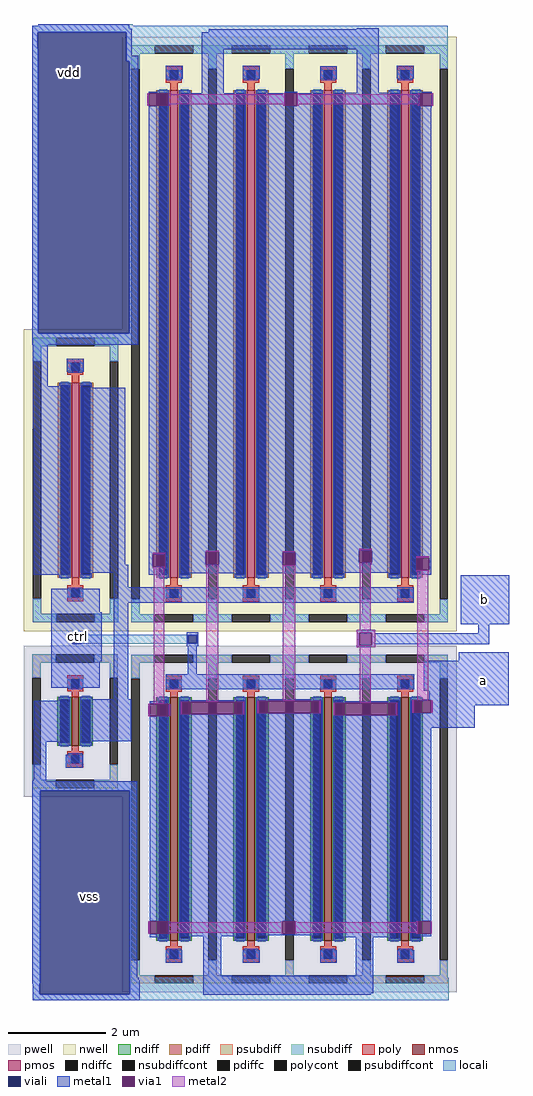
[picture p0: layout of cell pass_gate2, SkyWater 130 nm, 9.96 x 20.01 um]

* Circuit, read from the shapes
.subckt pass_gate2 vdd ctrl a b vss
XM1 n1 ctrl vss vss sky130_fd_pr__nfet_01v8 w=1 l=0.15
XM2 b ctrl a vss sky130_fd_pr__nfet_01v8 w=5 l=0.15 m=4
XM3 n1 ctrl vdd vdd sky130_fd_pr__pfet_01v8 w=4 l=0.15
XM4 b n1 a vdd sky130_fd_pr__pfet_01v8 w=10 l=0.15 m=4
.ends

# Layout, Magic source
magic
tech sky130A
magscale 1 2
<< locali >>
rect 2254 283 2643 290
rect 2229 256 3934 283
rect 2229 189 2253 256
rect 2229 175 2254 189
rect 2230 -979 2254 175
rect 2615 175 3934 256
rect 2615 137 2664 175
rect 2627 -979 2664 137
rect 2230 -1025 2664 -979
rect 2430 -2216 2906 -2214
rect 2430 -2250 2870 -2216
rect 2904 -2250 2906 -2216
rect 2430 -2251 2906 -2250
rect 2231 -2854 2661 -2815
rect 2231 -3643 2262 -2854
rect 2629 -3621 2661 -2854
rect 2231 -3645 2261 -3643
rect 2233 -3689 2261 -3645
rect 2629 -3689 3937 -3621
rect 2233 -3712 3937 -3689
<< viali >>
rect 2253 189 2615 256
rect 2254 137 2615 189
rect 2254 -979 2627 137
rect 2393 -2251 2430 -2214
rect 2870 -2250 2904 -2216
rect 2262 -3643 2629 -2854
rect 2261 -3689 2629 -3643
<< metal1 >>
rect 2254 283 2627 290
rect 2229 271 2627 283
rect 2229 256 2637 271
rect 3561 269 3650 272
rect 2953 257 3650 269
rect 2229 189 2253 256
rect 2229 175 2254 189
rect 2230 -979 2254 175
rect 2615 160 2637 256
rect 2926 186 3650 257
rect 2615 137 2664 160
rect 2627 -979 2664 137
rect 2778 66 2847 118
rect 2230 -1025 2664 -979
rect 2707 7 2790 13
rect 2926 7 3015 186
rect 3094 66 3163 118
rect 3410 64 3479 116
rect 3265 7 3317 13
rect 3561 9 3650 186
rect 3725 67 3794 119
rect 2707 -51 2790 -45
rect 2233 -1195 2294 -1025
rect 2372 -1135 2441 -1083
rect 2233 -1367 2377 -1195
rect 2237 -1968 2377 -1367
rect 2440 -1927 2611 -1202
rect 2707 -1884 2786 -51
rect 2440 -1961 2623 -1927
rect 2565 -2019 2623 -1961
rect 2707 -1936 2724 -1884
rect 2776 -1936 2786 -1884
rect 2707 -1968 2786 -1936
rect 2840 -1875 3094 7
rect 2840 -1927 2942 -1875
rect 2994 -1927 3094 -1875
rect 2840 -1963 3094 -1927
rect 3159 -45 3265 7
rect 3317 -45 3413 7
rect 3159 -1877 3413 -45
rect 3159 -1929 3257 -1877
rect 3309 -1929 3413 -1877
rect 3159 -1963 3413 -1929
rect 3475 -1868 3729 9
rect 3817 7 3869 13
rect 3475 -1920 3570 -1868
rect 3622 -1920 3729 -1868
rect 3475 -1961 3729 -1920
rect 3788 -45 3817 7
rect 3788 -51 3869 -45
rect 3788 -1898 3867 -51
rect 3788 -1950 3805 -1898
rect 3857 -1950 3867 -1898
rect 3788 -1968 3867 -1950
rect 2307 -2123 2507 -2025
rect 2565 -2084 3795 -2019
rect 2307 -2214 2515 -2123
rect 2307 -2251 2393 -2214
rect 2430 -2251 2515 -2214
rect 2307 -2323 2515 -2251
rect 2307 -2432 2507 -2323
rect 2565 -2479 2623 -2084
rect 3986 -2171 4186 -1971
rect 2864 -2216 2910 -2204
rect 2864 -2250 2870 -2216
rect 2904 -2250 2910 -2216
rect 2864 -2262 2910 -2250
rect 3560 -2206 3636 -2194
rect 3560 -2258 3570 -2206
rect 3622 -2209 3636 -2206
rect 4058 -2209 4103 -2171
rect 3622 -2254 4103 -2209
rect 3622 -2258 3636 -2254
rect 2868 -2377 2905 -2262
rect 3560 -2266 3636 -2258
rect 3978 -2321 4184 -2286
rect 2777 -2437 3797 -2377
rect 3836 -2443 4184 -2321
rect 3794 -2478 3806 -2477
rect 3857 -2478 4184 -2443
rect 2239 -2491 2374 -2485
rect 2239 -2607 2377 -2491
rect 2237 -2654 2377 -2607
rect 2434 -2652 2635 -2479
rect 2711 -2491 2784 -2488
rect 2844 -2489 3093 -2483
rect 2711 -2497 2790 -2491
rect 2711 -2555 2790 -2549
rect 2237 -2808 2288 -2654
rect 2337 -2658 2377 -2654
rect 2368 -2759 2437 -2707
rect 2235 -2815 2288 -2808
rect 2231 -2854 2661 -2815
rect 2231 -3643 2262 -2854
rect 2629 -3621 2661 -2854
rect 2711 -3383 2784 -2555
rect 2711 -3389 2790 -3383
rect 2711 -3447 2790 -3441
rect 2711 -3455 2784 -3447
rect 2844 -3451 3093 -2541
rect 3158 -2484 3407 -2478
rect 3794 -2483 4184 -2478
rect 3158 -3389 3407 -2536
rect 3158 -3441 3256 -3389
rect 3308 -3441 3407 -3389
rect 3158 -3446 3407 -3441
rect 3471 -2493 3720 -2487
rect 3256 -3447 3308 -3446
rect 2777 -3560 2846 -3508
rect 2932 -3613 3004 -3451
rect 3471 -3455 3720 -2545
rect 3867 -2504 4184 -2483
rect 3867 -2535 4044 -2504
rect 3794 -2596 4044 -2535
rect 3794 -3389 3867 -2596
rect 3794 -3441 3811 -3389
rect 3863 -3441 3867 -3389
rect 3794 -3450 3867 -3441
rect 3093 -3559 3162 -3507
rect 3410 -3559 3479 -3507
rect 3557 -3613 3629 -3455
rect 3727 -3559 3796 -3507
rect 2629 -3630 2667 -3621
rect 2231 -3645 2261 -3643
rect 2233 -3689 2261 -3645
rect 2629 -3689 2671 -3630
rect 2233 -3710 2671 -3689
rect 2932 -3685 3629 -3613
rect 2932 -3691 3618 -3685
rect 2233 -3712 2667 -3710
<< via1 >>
rect 2707 -45 2790 7
rect 2724 -1936 2776 -1884
rect 2942 -1927 2994 -1875
rect 3265 -45 3317 7
rect 3257 -1929 3309 -1877
rect 3570 -1920 3622 -1868
rect 3817 -45 3869 7
rect 3805 -1950 3857 -1898
rect 3570 -2258 3622 -2206
rect 2711 -2549 2790 -2497
rect 2844 -2541 3093 -2489
rect 2711 -3441 2790 -3389
rect 3158 -2536 3407 -2484
rect 3256 -3441 3308 -3389
rect 3471 -2545 3720 -2493
rect 3794 -2535 3867 -2483
rect 3811 -3441 3863 -3389
<< metal2 >>
rect 2701 -45 2707 7
rect 2790 1 2796 7
rect 3259 1 3265 7
rect 2790 -39 3265 1
rect 2790 -45 2796 -39
rect 3259 -45 3265 -39
rect 3317 1 3323 7
rect 3811 1 3817 7
rect 3317 -39 3817 1
rect 3317 -45 3323 -39
rect 3811 -45 3817 -39
rect 3869 -45 3875 7
rect 3570 -1868 3622 -1862
rect 2942 -1875 2994 -1869
rect 2724 -1884 2776 -1878
rect 2942 -1933 2994 -1927
rect 3257 -1877 3309 -1871
rect 3570 -1926 3622 -1920
rect 3805 -1898 3857 -1892
rect 2724 -1942 2776 -1936
rect 2729 -2497 2771 -1942
rect 2943 -2489 2993 -1933
rect 3257 -1935 3309 -1929
rect 3257 -2484 3308 -1935
rect 3573 -2194 3618 -1926
rect 3805 -1956 3857 -1950
rect 3560 -2206 3636 -2194
rect 3560 -2258 3570 -2206
rect 3622 -2258 3636 -2206
rect 3560 -2266 3636 -2258
rect 2705 -2549 2711 -2497
rect 2790 -2549 2796 -2497
rect 2838 -2541 2844 -2489
rect 3093 -2541 3099 -2489
rect 3152 -2536 3158 -2484
rect 3407 -2536 3413 -2484
rect 3573 -2493 3618 -2266
rect 3808 -2483 3853 -1956
rect 3465 -2545 3471 -2493
rect 3720 -2545 3726 -2493
rect 3788 -2535 3794 -2483
rect 3867 -2535 3873 -2483
rect 2705 -3441 2711 -3389
rect 2790 -3394 2796 -3389
rect 3250 -3394 3256 -3389
rect 2790 -3436 3256 -3394
rect 2790 -3441 2796 -3436
rect 3250 -3441 3256 -3436
rect 3308 -3394 3314 -3389
rect 3805 -3394 3811 -3389
rect 3308 -3436 3811 -3394
rect 3308 -3441 3314 -3436
rect 3805 -3441 3811 -3436
rect 3863 -3441 3869 -3389
use sky130_fd_pr__nfet_01v8_BBNS5X  XM1
transform 1 0 3759 0 1 -2970
box -211 -710 211 710
use sky130_fd_pr__pfet_01v8_XGA8MR  XM2
transform 1 0 3759 0 1 -981
box -211 -1219 211 1219
use sky130_fd_pr__nfet_01v8_648S5X  XM3 ~/Documents/github_project/adc_dac2/mag
transform 1 0 2406 0 1 -2569
box -211 -310 211 310
use sky130_fd_pr__pfet_01v8_XGASDL  XM4 ~/Documents/github_project/adc_dac2/mag
transform 1 0 2407 0 1 -1580
box -211 -619 211 619
use sky130_fd_pr__pfet_01v8_XGA8MR  XM5
transform 1 0 2811 0 1 -981
box -211 -1219 211 1219
use sky130_fd_pr__pfet_01v8_XGA8MR  XM6
transform 1 0 3127 0 1 -981
box -211 -1219 211 1219
use sky130_fd_pr__pfet_01v8_XGA8MR  XM7
transform 1 0 3443 0 1 -981
box -211 -1219 211 1219
use sky130_fd_pr__nfet_01v8_BBNS5X  XM8
transform 1 0 2811 0 1 -2970
box -211 -710 211 710
use sky130_fd_pr__nfet_01v8_BBNS5X  XM9
transform 1 0 3127 0 1 -2970
box -211 -710 211 710
use sky130_fd_pr__nfet_01v8_BBNS5X  XM10
transform 1 0 3443 0 1 -2970
box -211 -710 211 710
<< labels >>
flabel metal1 2363 -3387 2563 -3187 0 FreeSans 256 0 0 0 vss
port 4 nsew
flabel metal1 2282 -7 2482 193 0 FreeSans 256 0 0 0 vdd
port 0 nsew
flabel metal1 2315 -2323 2515 -2123 0 FreeSans 256 0 0 0 ctrl
port 1 nsew
flabel metal1 3986 -2171 4186 -1971 0 FreeSans 256 0 0 0 b
port 3 nsew
flabel metal1 3982 -2500 4182 -2300 0 FreeSans 256 0 0 0 a
port 2 nsew
<< end >>

# cell sky130_fd_pr__nfet_01v8_BBNS5X: kit device sky130_fd_pr__nfet_01v8, w 5.0 l 0.15 m 1 nf 1 diffcov 100 polycov 100 guard 1 glc 1 grc 1 gtc 1 gbc 1 tbcov 100 rlcov 100 topc 1 botc 1 poverlap 0 doverlap 1 lmin 0.15 wmin 0.42 compatible {sky130_fd_pr__nfet_01v8 sky130_fd_pr__nfet_01v8_lvt sky130_fd_bs_flash__special_sonosfet_star sky130_fd_pr__nfet_g5v0d10v5 sky130_fd_pr__nfet_05v0_nvt sky130_fd_pr__nfet_03v3_nvt} full_metal 1 viasrc 100 viadrn 100 viagate 100 viagb 0 viagr 0 viagl 0 viagt 0

# cell sky130_fd_pr__pfet_01v8_XGA8MR: kit device sky130_fd_pr__pfet_01v8, w 10.0 l 0.15 m 1 nf 1 diffcov 100 polycov 100 guard 1 glc 1 grc 1 gtc 1 gbc 1 tbcov 100 rlcov 100 topc 1 botc 1 poverlap 0 doverlap 1 lmin 0.15 wmin 0.42 compatible {sky130_fd_pr__pfet_01v8 sky130_fd_pr__pfet_01v8_lvt sky130_fd_pr__pfet_01v8_hvt sky130_fd_pr__pfet_g5v0d10v5} full_metal 1 viasrc 100 viadrn 100 viagate 100 viagb 0 viagr 0 viagl 0 viagt 0

# cell sky130_fd_pr__nfet_01v8_648S5X: kit device sky130_fd_pr__nfet_01v8, w 1.0 l 0.15 m 1 nf 1 diffcov 100 polycov 100 guard 1 glc 1 grc 1 gtc 1 gbc 1 tbcov 100 rlcov 100 topc 1 botc 1 poverlap 0 doverlap 1 lmin 0.15 wmin 0.42 compatible {sky130_fd_pr__nfet_01v8 sky130_fd_pr__nfet_01v8_lvt sky130_fd_bs_flash__special_sonosfet_star sky130_fd_pr__nfet_g5v0d10v5 sky130_fd_pr__nfet_05v0_nvt sky130_fd_pr__nfet_03v3_nvt} full_metal 1 viasrc 100 viadrn 100 viagate 100 viagb 0 viagr 0 viagl 0 viagt 0

# cell sky130_fd_pr__pfet_01v8_XGASDL: kit device sky130_fd_pr__pfet_01v8, w 4.0 l 0.15 m 1 nf 1 diffcov 100 polycov 100 guard 1 glc 1 grc 1 gtc 1 gbc 1 tbcov 100 rlcov 100 topc 1 botc 1 poverlap 0 doverlap 1 lmin 0.15 wmin 0.42 compatible {sky130_fd_pr__pfet_01v8 sky130_fd_pr__pfet_01v8_lvt sky130_fd_pr__pfet_01v8_hvt sky130_fd_pr__pfet_g5v0d10v5} full_metal 1 viasrc 100 viadrn 100 viagate 100 viagb 0 viagr 0 viagl 0 viagt 0
